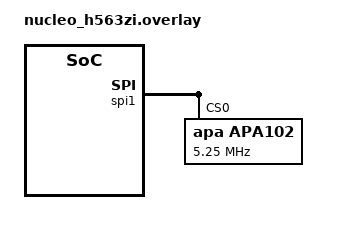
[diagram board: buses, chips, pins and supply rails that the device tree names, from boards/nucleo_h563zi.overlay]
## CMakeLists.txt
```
# SPDX-License-Identifier: Apache-2.0

cmake_minimum_required(VERSION 3.20.0)

find_package(Zephyr REQUIRED HINTS $ENV{ZEPHYR_BASE})
project(led_apa102)

FILE(GLOB app_sources src/*.c)
target_sources(app PRIVATE ${app_sources})
```

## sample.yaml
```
sample:
  description: Demonstration of the APA102 LED strip driver
  name: APA102 sample
tests:
  sample.drivers.led.apa102:
    platform_allow: nucleo_l432kc
    tags: LED
    depends_on: spi
```

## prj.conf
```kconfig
# This file expresses generic requirements ONLY; see README.rst.

CONFIG_LOG=y
CONFIG_LED_STRIP=y
CONFIG_POLL=y
```

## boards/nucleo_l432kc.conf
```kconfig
CONFIG_POLL=y
CONFIG_SPI=y

CONFIG_OPENOCD_SUPPORT=y
CONFIG_SPI_STM32=y
CONFIG_SPI_STM32_INTERRUPT=y
CONFIG_SPI_1=y

CONFIG_LED_STRIP=y
CONFIG_APA102_STRIP=y
```

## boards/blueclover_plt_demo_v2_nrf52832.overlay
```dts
/*
 * Copyright (c) 2021 Blue Clover
 *
 * SPDX-License-Identifier: Apache-2.0
 */

/ {
	led_pwr: led-pwr-ctrl {
		compatible = "regulator-fixed-sync", "regulator-fixed";
		label = "led-pwr-ctrl";
		regulator-name = "led-pwr-ctrl";
		enable-gpios = <&gpio0 25 GPIO_ACTIVE_HIGH>;
		regulator-boot-on;
	};
};
```

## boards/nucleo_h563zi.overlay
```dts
/*
 * Copyright (c) 2018 Nordic Semiconductor ASA
 * Copyright (c) 2024 Vitrolife A/S
 *
 * SPDX-License-Identifier: Apache-2.0
 */

&spi1 {
	apa102@0 {
		compatible = "apa,apa102";
		reg = <0>;
		spi-max-frequency = <5250000>;
	};
};
```

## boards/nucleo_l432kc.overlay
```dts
/*
 * Copyright (c) 2018 Nordic Semiconductor ASA
 *
 * SPDX-License-Identifier: Apache-2.0
 */

&spi1 {

	apa102@0 {
		compatible = "apa,apa102";
		reg = <0>;
		spi-max-frequency = <DT_FREQ_K(5250)>;
	};
};
```

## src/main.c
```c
/*
 * Copyright (c) 2017 Linaro Limited
 * Copyright (c) 2018 Intel Corporation
 *
 * SPDX-License-Identifier: Apache-2.0
 */

#include <errno.h>
#include <string.h>

#define LOG_LEVEL 4
#include <zephyr/logging/log.h>
LOG_MODULE_REGISTER(main);

#include <zephyr/kernel.h>
#include <zephyr/drivers/led_strip.h>
#include <zephyr/device.h>
#include <zephyr/drivers/spi.h>
#include <zephyr/sys/util.h>

/*
 * Number of RGB LEDs in the LED strip, adjust as needed.
 */
#define STRIP_NUM_LEDS 20

#define DELAY_TIME K_MSEC(40)

static const struct led_rgb colors[] = {
	{ .r = 0xff, .g = 0x00, .b = 0x00, }, /* red */
	{ .r = 0x00, .g = 0xff, .b = 0x00, }, /* green */
	{ .r = 0x00, .g = 0x00, .b = 0xff, }, /* blue */
};

static const struct led_rgb black = {
	.r = 0x00,
	.g = 0x00,
	.b = 0x00,
};

struct led_rgb strip_colors[STRIP_NUM_LEDS];

const struct led_rgb *color_at(size_t time, size_t i)
{
	size_t rgb_start = time % STRIP_NUM_LEDS;

	if (rgb_start <= i && i < rgb_start + ARRAY_SIZE(colors)) {
		return &colors[i - rgb_start];
	} else {
		return &black;
	}
}

#define DELAY_TIME K_MSEC(40)
int main(void)
{
	const struct device *strip;
	size_t i, time;

	strip = DEVICE_DT_GET_ANY(apa_apa102);
	if (!strip) {
		LOG_ERR("LED strip device not found");
		return 0;
	} else if (!device_is_ready(strip)) {
		LOG_ERR("LED strip device %s is not ready", strip->name);
		return 0;
	} else {
		LOG_INF("Found LED strip device %s", strip->name);
	}

	/*
	 * Display a pattern that "walks" the three primary colors
	 * down the strip until it reaches the end, then starts at the
	 * beginning. This has the effect of moving it around in a
	 * circle in the case of rings of pixels.
	 */
	LOG_INF("Displaying pattern on strip");
	time = 0;
	while (1) {
		for (i = 0; i < STRIP_NUM_LEDS; i++) {
			memcpy(&strip_colors[i], color_at(time, i),
			       sizeof(strip_colors[i]));
		}
		led_strip_update_rgb(strip, strip_colors, STRIP_NUM_LEDS);
		k_sleep(DELAY_TIME);
		time++;
	}
	return 0;
}
```
